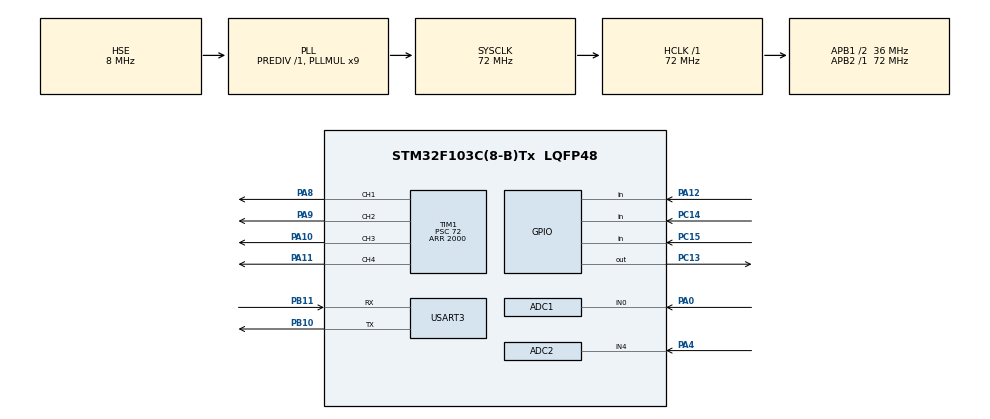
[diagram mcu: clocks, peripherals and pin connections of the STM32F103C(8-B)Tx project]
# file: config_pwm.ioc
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ADC1.Channel-4\#ChannelRegularConversion=ADC_CHANNEL_0
ADC1.ContinuousConvMode=DISABLE
ADC1.DataAlign=ADC_DATAALIGN_RIGHT
ADC1.DiscontinuousConvMode=DISABLE
ADC1.EnableAnalogWatchDog=false
ADC1.EnableRegularConversion=ENABLE
ADC1.ExternalTrigConv=ADC_SOFTWARE_START
ADC1.InjNumberOfConversion=0
ADC1.NbrOfConversion=1
ADC1.NbrOfConversionFlag=1
ADC1.Rank-4\#ChannelRegularConversion=1
ADC1.SamplingTime-4\#ChannelRegularConversion=ADC_SAMPLETIME_71CYCLES_5
ADC1.ScanConvMode=ADC_SCAN_DISABLE
ADC1.master=1
ADC2.Channel-28\#ChannelRegularConversion=ADC_CHANNEL_4
ADC2.ContinuousConvMode=DISABLE
ADC2.DataAlign=ADC_DATAALIGN_RIGHT
ADC2.DiscontinuousConvMode=DISABLE
ADC2.EnableAnalogWatchDog=false
ADC2.EnableRegularConversion=ENABLE
ADC2.ExternalTrigConv=ADC_SOFTWARE_START
ADC2.InjNumberOfConversion=0
ADC2.NbrOfConversion=1
ADC2.NbrOfConversionFlag=1
ADC2.Rank-28\#ChannelRegularConversion=1
ADC2.SamplingTime-28\#ChannelRegularConversion=ADC_SAMPLETIME_71CYCLES_5
ADC2.ScanConvMode=ADC_SCAN_DISABLE
Dma.ADC1.0.Direction=DMA_PERIPH_TO_MEMORY
Dma.ADC1.0.Instance=DMA1_Channel1
Dma.ADC1.0.MemDataAlignment=DMA_MDATAALIGN_WORD
Dma.ADC1.0.MemInc=DMA_MINC_ENABLE
Dma.ADC1.0.Mode=DMA_CIRCULAR
Dma.ADC1.0.PeriphDataAlignment=DMA_PDATAALIGN_WORD
Dma.ADC1.0.PeriphInc=DMA_PINC_DISABLE
Dma.ADC1.0.Priority=DMA_PRIORITY_LOW
Dma.Request0=ADC1
Mcu.Family=STM32F1
Mcu.Name=STM32F103C(8-B)Tx
Mcu.Package=LQFP48
NVIC.ADC1_2_IRQn=true\:0\:0\:false\:false\:true
NVIC.DMA1_Channel1_IRQn=true\:0\:0\:false\:false\:true
NVIC.PriorityGroup=NVIC_PRIORITYGROUP_4
PA0-WKUP.Signal=ADCx_IN0
PA10.Signal=S_TIM1_CH3
PA11.Signal=S_TIM1_CH4
PA12.Signal=GPIO_Input
PA13.Mode=Serial_Wire
PA13.Signal=SYS_JTMS-SWDIO
PA14.Mode=Serial_Wire
PA14.Signal=SYS_JTCK-SWCLK
PA4.Signal=ADCx_IN4
PA6.Signal=ADCx_IN6
PA7.Signal=ADCx_IN7
PA8.Signal=S_TIM1_CH1
PA9.Signal=S_TIM1_CH2
PB0.Signal=ADCx_IN8
PB1.Signal=ADCx_IN9
PB10.Mode=Asynchronous
PB10.Signal=USART3_TX
PB11.Mode=Asynchronous
PB11.Signal=USART3_RX
PC13-TAMPER-RTC.Signal=GPIO_Output
PC14-OSC32_IN.Signal=GPIO_Input
PC15-OSC32_OUT.Signal=GPIO_Input
PD0-OSC_IN.Mode=HSE-External-Oscillator
PD0-OSC_IN.Signal=RCC_OSC_IN
PD1-OSC_OUT.Mode=HSE-External-Oscillator
PD1-OSC_OUT.Signal=RCC_OSC_OUT
ProjectManager.HeapSize=0x200
ProjectManager.StackSize=0x400
ProjectManager.TargetToolchain=TrueSTUDIO
RCC.ADCPresc=RCC_ADCPCLK2_DIV6
RCC.AHBFreq_Value=72000000
RCC.APB1CLKDivider=RCC_HCLK_DIV2
RCC.APB1Freq_Value=36000000
RCC.APB1TimFreq_Value=72000000
RCC.APB2Freq_Value=72000000
RCC.APB2TimFreq_Value=72000000
RCC.HCLKFreq_Value=72000000
RCC.PLLMUL=RCC_PLL_MUL9
RCC.PLLSourceVirtual=RCC_PLLSOURCE_HSE
RCC.SYSCLKFreq_VALUE=72000000
RCC.SYSCLKSource=RCC_SYSCLKSOURCE_PLLCLK
RCC.USBFreq_Value=72000000
SH.ADCx_IN0.0=ADC1_IN0,IN0
SH.ADCx_IN4.0=ADC2_IN4,IN4
SH.ADCx_IN6.0=ADC1_IN6
SH.ADCx_IN7.0=ADC1_IN7
SH.ADCx_IN8.0=ADC1_IN8
SH.ADCx_IN9.0=ADC1_IN9
SH.S_TIM1_CH1.0=TIM1_CH1,PWM Generation1 CH1
SH.S_TIM1_CH2.0=TIM1_CH2,PWM Generation2 CH2
SH.S_TIM1_CH3.0=TIM1_CH3,PWM Generation3 CH3
SH.S_TIM1_CH4.0=TIM1_CH4,PWM Generation4 CH4
TIM1.Channel-PWM\ Generation1\ CH1=TIM_CHANNEL_1
TIM1.Channel-PWM\ Generation2\ CH2=TIM_CHANNEL_2
TIM1.Channel-PWM\ Generation3\ CH3=TIM_CHANNEL_3
TIM1.Channel-PWM\ Generation4\ CH4=TIM_CHANNEL_4
TIM1.Period=2000
TIM1.Prescaler=72
USART3.VirtualMode=VM_ASYNC
board=config_pwm

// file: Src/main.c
/**
  ******************************************************************************
  * File Name          : main.c
  * Description        : Main program body
  ******************************************************************************
  ** This notice applies to any and all portions of this file
  * that are not between comment pairs USER CODE BEGIN and
  * USER CODE END. Other portions of this file, whether
  * inserted by the user or by software development tools
  * are owned by their respective copyright owners.
  *
  * COPYRIGHT(c) 2017 STMicroelectronics
  *
  * Redistribution and use in source and binary forms, with or without modification,
  * are permitted provided that the following conditions are met:
  *   1. Redistributions of source code must retain the above copyright notice,
  *      this list of conditions and the following disclaimer.
  *   2. Redistributions in binary form must reproduce the above copyright notice,
  *      this list of conditions and the following disclaimer in the documentation
  *      and/or other materials provided with the distribution.
  *   3. Neither the name of STMicroelectronics nor the names of its contributors
  *      may be used to endorse or promote products derived from this software
  *      without specific prior written permission.
  *
  * THIS SOFTWARE IS PROVIDED BY THE COPYRIGHT HOLDERS AND CONTRIBUTORS "AS IS"
  * AND ANY EXPRESS OR IMPLIED WARRANTIES, INCLUDING, BUT NOT LIMITED TO, THE
  * IMPLIED WARRANTIES OF MERCHANTABILITY AND FITNESS FOR A PARTICULAR PURPOSE ARE
  * DISCLAIMED. IN NO EVENT SHALL THE COPYRIGHT HOLDER OR CONTRIBUTORS BE LIABLE
  * FOR ANY DIRECT, INDIRECT, INCIDENTAL, SPECIAL, EXEMPLARY, OR CONSEQUENTIAL
  * DAMAGES (INCLUDING, BUT NOT LIMITED TO, PROCUREMENT OF SUBSTITUTE GOODS OR
  * SERVICES; LOSS OF USE, DATA, OR PROFITS; OR BUSINESS INTERRUPTION) HOWEVER
  * CAUSED AND ON ANY THEORY OF LIABILITY, WHETHER IN CONTRACT, STRICT LIABILITY,
  * OR TORT (INCLUDING NEGLIGENCE OR OTHERWISE) ARISING IN ANY WAY OUT OF THE USE
  * OF THIS SOFTWARE, EVEN IF ADVISED OF THE POSSIBILITY OF SUCH DAMAGE.
  *
  ******************************************************************************
  */
#include "main.h"
#include "stm32f1xx_hal.h"
#include "adc.h"
#include "dma.h"
#include "tim.h"
#include "usart.h"
#include "gpio.h"

/* USER CODE BEGIN PV */
/* Private variables ---------------------------------------------------------*/
uint32_t ADC_BUF[2];
/* USER CODE END PV */

void SystemClock_Config(void);

/* USER CODE BEGIN PFP */
/* Private function prototypes -----------------------------------------------*/

/* USER CODE END PFP */

/* USER CODE BEGIN 0 */
/*void HAL_ADC_ConvCpltCallback(ADC_HandleTypeDef* hadc){
	uint32_t val[2];
	if(hadc -> Instance == ADC1){
		val[0] =ADC_BUF[0];
		val[1] =ADC_BUF[1];
		//val[2] =ADC_BUF[2];

}
}*/
/* USER CODE END 0 */

int main(void)
{

  /* USER CODE BEGIN 1 */
	uint32_t ADC_VALUE2;
	uint32_t ADC_VALUE1;
	uint32_t Altura = 0;
	uint32_t giro = 1200;
	uint32_t frtr = 900;
	uint32_t garra = 0;
	uint32_t passo = 50;
	uint32_t passo_delay = 30;

  /* USER CODE END 1 */

  /* MCU Configuration----------------------------------------------------------*/

  /* Reset of all peripherals, Initializes the Flash interface and the Systick. */
  HAL_Init();

  /* Configure the system clock */
  SystemClock_Config();

  /* Initialize all configured peripherals */
  MX_GPIO_Init();
  MX_DMA_Init();
  MX_TIM1_Init();
  MX_ADC1_Init();
  MX_USART3_UART_Init();
  MX_ADC2_Init();

  /* USER CODE BEGIN 2 */
  HAL_TIM_PWM_Start(&htim1, TIM_CHANNEL_1);
  HAL_TIM_PWM_Start(&htim1, TIM_CHANNEL_2);
  HAL_TIM_PWM_Start(&htim1, TIM_CHANNEL_3);
  HAL_TIM_PWM_Start(&htim1, TIM_CHANNEL_4);
  HAL_ADC_Start(&hadc2);
  HAL_ADC_Start(&hadc1);

  //setup posições
  __HAL_TIM_SetCompare(&htim1, TIM_CHANNEL_3, giro);
  HAL_Delay(200);
  __HAL_TIM_SetCompare(&htim1, TIM_CHANNEL_1, frtr);
  HAL_Delay(200);
  __HAL_TIM_SetCompare(&htim1, TIM_CHANNEL_4, 1600);
  HAL_Delay(200);
  __HAL_TIM_SetCompare(&htim1, TIM_CHANNEL_2, 1900);

  /* USER CODE END 2 */

  /* Infinite loop */
  while (1)
  {

  /* USER CODE BEGIN 3 */
	  //HAL_ADC_Start_IT(&hadc1);
	  HAL_Delay(50);
	  HAL_ADC_Start(&hadc2);
	  HAL_ADC_Start(&hadc1);

	  ADC_VALUE1 = HAL_ADC_GetValue(&hadc1);
	  ADC_VALUE2 = HAL_ADC_GetValue(&hadc2);

	  //GIRA A BASE

	  if (ADC_VALUE1 < 1000 && giro>499){
		  	  	  	  giro = giro - passo;
		  	  	  	  HAL_Delay(passo_delay);
	  	  			__HAL_TIM_SetCompare(&htim1, TIM_CHANNEL_3, giro);
	  	  		} else if (ADC_VALUE1 > 3800 && giro < 1950){
	  	  			giro = giro + passo;
	  	  			HAL_Delay(passo_delay);
	  	  			__HAL_TIM_SetCompare(&htim1, TIM_CHANNEL_3, giro);
	  	  	}
//para frente e para trás

	  if (ADC_VALUE2 < 1000 && frtr>499){
		  	  	frtr= frtr -passo;
		  	  	HAL_Delay(passo_delay);
	  			__HAL_TIM_SetCompare(&htim1, TIM_CHANNEL_1, frtr);
	  		} else if (ADC_VALUE2 > 3800 && frtr < 1300){
	  			frtr = frtr + passo;
	  			HAL_Delay(passo_delay);
	  			__HAL_TIM_SetCompare(&htim1, TIM_CHANNEL_1, frtr);
	  	}
	  HAL_ADC_Stop(&hadc2);
	  HAL_ADC_Stop(&hadc1);

//para cima e para baixo

	  if(HAL_GPIO_ReadPin(GPIOA, GPIO_PIN_12)==1){
		  Altura++;
		  HAL_Delay(300);
	  }

	  if(Altura % 2 == 1){
		  __HAL_TIM_SetCompare(&htim1, TIM_CHANNEL_2, 1450);
	  }else{
		  __HAL_TIM_SetCompare(&htim1, TIM_CHANNEL_2, 1900);
	  }

	  //garra

	  if(HAL_GPIO_ReadPin(GPIOC, GPIO_PIN_14)==1){
	   		  garra++;
	   		  HAL_Delay(300);
	   	  }

	   	  if(garra % 2 == 1){
	   		  __HAL_TIM_SetCompare(&htim1, TIM_CHANNEL_4, 1600);
	   	  }else{
	   		  __HAL_TIM_SetCompare(&htim1, TIM_CHANNEL_4, 950);
	   	  }

  }
  /* USER CODE END 3 */

}

/** System Clock Configuration
*/
void SystemClock_Config(void)
{

  RCC_OscInitTypeDef RCC_OscInitStruct;
  RCC_ClkInitTypeDef RCC_ClkInitStruct;
  RCC_PeriphCLKInitTypeDef PeriphClkInit;

    /**Initializes the CPU, AHB and APB busses clocks
    */
  RCC_OscInitStruct.OscillatorType = RCC_OSCILLATORTYPE_HSE;
  RCC_OscInitStruct.HSEState = RCC_HSE_ON;
  RCC_OscInitStruct.HSEPredivValue = RCC_HSE_PREDIV_DIV1;
  RCC_OscInitStruct.HSIState = RCC_HSI_ON;
  RCC_OscInitStruct.PLL.PLLState = RCC_PLL_ON;
  RCC_OscInitStruct.PLL.PLLSource = RCC_PLLSOURCE_HSE;
  RCC_OscInitStruct.PLL.PLLMUL = RCC_PLL_MUL9;
  if (HAL_RCC_OscConfig(&RCC_OscInitStruct) != HAL_OK)
  {
    _Error_Handler(__FILE__, __LINE__);
  }

    /**Initializes the CPU, AHB and APB busses clocks
    */
  RCC_ClkInitStruct.ClockType = RCC_CLOCKTYPE_HCLK|RCC_CLOCKTYPE_SYSCLK
                              |RCC_CLOCKTYPE_PCLK1|RCC_CLOCKTYPE_PCLK2;
  RCC_ClkInitStruct.SYSCLKSource = RCC_SYSCLKSOURCE_PLLCLK;
  RCC_ClkInitStruct.AHBCLKDivider = RCC_SYSCLK_DIV1;
  RCC_ClkInitStruct.APB1CLKDivider = RCC_HCLK_DIV2;
  RCC_ClkInitStruct.APB2CLKDivider = RCC_HCLK_DIV1;

  if (HAL_RCC_ClockConfig(&RCC_ClkInitStruct, FLASH_LATENCY_2) != HAL_OK)
  {
    _Error_Handler(__FILE__, __LINE__);
  }

  PeriphClkInit.PeriphClockSelection = RCC_PERIPHCLK_ADC;
  PeriphClkInit.AdcClockSelection = RCC_ADCPCLK2_DIV6;
  if (HAL_RCCEx_PeriphCLKConfig(&PeriphClkInit) != HAL_OK)
  {
    _Error_Handler(__FILE__, __LINE__);
  }

    /**Configure the Systick interrupt time
    */
  HAL_SYSTICK_Config(HAL_RCC_GetHCLKFreq()/1000);

    /**Configure the Systick
    */
  HAL_SYSTICK_CLKSourceConfig(SYSTICK_CLKSOURCE_HCLK);

  /* SysTick_IRQn interrupt configuration */
  HAL_NVIC_SetPriority(SysTick_IRQn, 0, 0);
}

void _Error_Handler(char * file, int line)
{
  while(1)
  {
  }
}

/************************ (C) COPYRIGHT STMicroelectronics *****END OF FILE****/
